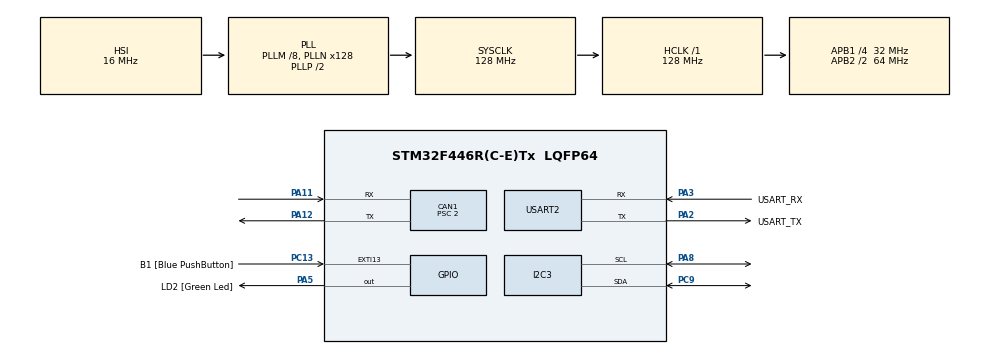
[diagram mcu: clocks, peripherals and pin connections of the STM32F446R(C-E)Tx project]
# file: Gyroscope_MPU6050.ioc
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CAN1.BS1=CAN_BS1_14TQ
CAN1.CalculateBaudRate=1000000
CAN1.CalculateTimeBit=1000
CAN1.CalculateTimeQuantum=62.5
CAN1.Prescaler=2
Mcu.Family=STM32F4
Mcu.Name=STM32F446R(C-E)Tx
Mcu.Package=LQFP64
NVIC.PriorityGroup=NVIC_PRIORITYGROUP_0
PA11.Mode=CAN_Activate
PA11.Signal=CAN1_RX
PA12.Mode=CAN_Activate
PA12.Signal=CAN1_TX
PA13.GPIO_Label=TMS
PA13.Mode=Serial_Wire
PA13.Signal=SYS_JTMS-SWDIO
PA14.GPIO_Label=TCK
PA14.Mode=Serial_Wire
PA14.Signal=SYS_JTCK-SWCLK
PA2.GPIO_Label=USART_TX
PA2.Mode=Asynchronous
PA2.Signal=USART2_TX
PA3.GPIO_Label=USART_RX
PA3.Mode=Asynchronous
PA3.Signal=USART2_RX
PA5.GPIO_Label=LD2 [Green Led]
PA5.Signal=GPIO_Output
PA8.Mode=I2C
PA8.Signal=I2C3_SCL
PB3.GPIO_Label=SWO
PB3.Signal=SYS_JTDO-SWO
PB8.Signal=I2C1_SCL
PB9.Signal=I2C1_SDA
PC13.GPIO_Label=B1 [Blue PushButton]
PC13.GPIO_ModeDefaultEXTI=GPIO_MODE_IT_FALLING
PC13.Signal=GPXTI13
PC14-OSC32_IN.Mode=LSE-External-Oscillator
PC14-OSC32_IN.Signal=RCC_OSC32_IN
PC15-OSC32_OUT.Mode=LSE-External-Oscillator
PC15-OSC32_OUT.Signal=RCC_OSC32_OUT
PC9.Mode=I2C
PC9.Signal=I2C3_SDA
PH0-OSC_IN.Mode=HSE-External-Oscillator
PH0-OSC_IN.Signal=RCC_OSC_IN
PH1-OSC_OUT.Mode=HSE-External-Oscillator
PH1-OSC_OUT.Signal=RCC_OSC_OUT
ProjectManager.HeapSize=0x200
ProjectManager.StackSize=0x400
ProjectManager.TargetToolchain=STM32CubeIDE
RCC.48MHZClocksFreq_Value=84000000
RCC.AHBFreq_Value=128000000
RCC.APB1CLKDivider=RCC_HCLK_DIV4
RCC.APB1Freq_Value=32000000
RCC.APB1TimFreq_Value=64000000
RCC.APB2CLKDivider=RCC_HCLK_DIV2
RCC.APB2Freq_Value=64000000
RCC.APB2TimFreq_Value=128000000
RCC.CortexFreq_Value=128000000
RCC.FLatency-AdvancedSettings=FLASH_LATENCY_4
RCC.HCLKFreq_Value=128000000
RCC.HSE_VALUE=8000000
RCC.HSI_VALUE=16000000
RCC.PLLM=8
RCC.PLLN=128
RCC.SYSCLKFreq_VALUE=128000000
RCC.SYSCLKSource=RCC_SYSCLKSOURCE_PLLCLK
RCC.USBFreq_Value=128000000
RCC.VCOOutputFreq_Value=256000000
TIM12.AutoReloadPreload=TIM_AUTORELOAD_PRELOAD_ENABLE
TIM12.Period=2-1
TIM12.Prescaler=64000-1
USART2.VirtualMode=VM_ASYNC
VP_TIM12_VS_ClockSourceINT.Mode=Internal
board=NUCLEO-F446RE

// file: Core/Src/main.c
/* USER CODE BEGIN Header */
/**
  ******************************************************************************
  * @file           : main.c
  * @brief          : Main program body
  ******************************************************************************
  * @attention
  *
  * Copyright (c) 2024 STMicroelectronics.
  * All rights reserved.
  *
  * This software is licensed under terms that can be found in the LICENSE file
  * in the root directory of this software component.
  * If no LICENSE file comes with this software, it is provided AS-IS.
  *
  ******************************************************************************
  */
/* USER CODE END Header */
#include "main.h"

/* USER CODE BEGIN Includes */
#include "string.h"
#include "stdio.h"
#include "math.h"
#include "stm32f4xx_hal.h"
#include "stm32f4xx.h"
/* USER CODE END Includes */

/* USER CODE BEGIN PD */
#define MPU6050_ADDR 0xD0
#define SMPLRT_DIV_REG 0x19
#define GYRO_CONFIG_REG 0x1B
#define ACCEL_CONFIG_REG 0x1C
#define ACCEL_XOUT_H_REG 0x3B
#define TEMP_OUT_H_REG 0x41
#define GYRO_XOUT_H_REG 0x43
#define PWR_MGMT_1_REG 0x6B
#define WHO_AM_I_REG 0x75
#define BUFFER_SIZE 8
#define CAN1_DEVICE_NUM     4
#define FIRST_GROUP_ID      0x190
#define CAN_DATA_SIZE       8
#define CAN1_RX_ID_START    0x201
/* USER CODE END PD */

CAN_HandleTypeDef hcan1;

I2C_HandleTypeDef hi2c3;

TIM_HandleTypeDef htim12;

UART_HandleTypeDef huart2;

/* USER CODE BEGIN PV */
//int i;
//char buff[500];
uint16_t Accel_X_Raw;
uint16_t Accel_Y_Raw;
uint16_t Accel_Z_Raw;
float Ax;
float Ay;
float Az;
int16_t Gyro_X_Raw;
int16_t Gyro_Y_Raw;
int16_t Gyro_Z_Raw;
float Gx;
float Gy;
float Gz;
//float buffer[8];
uint8_t buffer[BUFFER_SIZE];
int8_t msg1;
int8_t msg2;
int8_t msg3;
//int8_t msg4;
//int8_t msg5;
//int8_t msg6;

/* USER CODE END PV */

void SystemClock_Config(void);
static void MX_GPIO_Init(void);
static void MX_USART2_UART_Init(void);
static void MX_CAN1_Init(void);
static void MX_TIM12_Init(void);
static void MX_I2C3_Init(void);

/* USER CODE BEGIN 0 */
void can_transmit(CAN_HandleTypeDef* hcan, uint16_t id, int8_t msg1){
    CAN_TxHeaderTypeDef tx_header;
    uint8_t             buffer[8];
    uint32_t            pTxMailbox;

    tx_header.StdId = id;
    tx_header.IDE   = CAN_ID_STD;
    tx_header.RTR   = CAN_RTR_DATA;
    tx_header.DLC   = CAN_DATA_SIZE;
    tx_header.TransmitGlobalTime = DISABLE;
    buffer[0] = msg1;

    if (HAL_CAN_AddTxMessage(hcan, &tx_header, buffer, &pTxMailbox) == HAL_OK){
        while (HAL_CAN_IsTxMessagePending(hcan, pTxMailbox));
    }
}

void MPU6050_Init (void)
{
	uint8_t check, Data;
	HAL_I2C_Mem_Read (&hi2c3, MPU6050_ADDR, WHO_AM_I_REG,1,&check,1,1000);

	if( check == 104)
	{
		Data=0;
		HAL_I2C_Mem_Write(&hi2c3, MPU6050_ADDR, PWR_MGMT_1_REG, 1, &Data, 1, 1000);

		Data=0x07;
		HAL_I2C_Mem_Write(&hi2c3, MPU6050_ADDR, SMPLRT_DIV_REG, 1, &Data, 1, 1000);

		Data=0x00;
		HAL_I2C_Mem_Write(&hi2c3, MPU6050_ADDR, ACCEL_CONFIG_REG, 1, &Data, 1, 1000);

		Data=0x00;
		HAL_I2C_Mem_Write(&hi2c3, MPU6050_ADDR, GYRO_CONFIG_REG, 1, &Data, 1, 1000);
	}
}
	void MPU6050_Read_Accel(void)
	{
		uint8_t Rec_Data[6];
		HAL_I2C_Mem_Read(&hi2c3, MPU6050_ADDR, ACCEL_XOUT_H_REG, 1, Rec_Data, 6, 1000);

		Accel_X_Raw=(int16_t)(Rec_Data[0] << 8 | Rec_Data[1]);
		Accel_Y_Raw=(int16_t)(Rec_Data[2] << 8 | Rec_Data[3]);
		Accel_Z_Raw=(int16_t)(Rec_Data[4] << 8 | Rec_Data[5]);
//		can_transmit(&hcan1, 0x191, Rec_Data[0], Rec_Data[1]);
		Ax=Accel_X_Raw/4096.0*50;
		Ay=Accel_Y_Raw/4096.0*50;
		Az=Accel_Z_Raw/4096.0*50;
	}

	void MPU6050_Read_Gyro(void)
	{
		uint8_t Rec_Data[6];
		HAL_I2C_Mem_Read(&hi2c3, MPU6050_ADDR, GYRO_XOUT_H_REG, 1, Rec_Data, 6, 1000);

		Gyro_X_Raw=(int16_t)(Rec_Data[0] << 8 | Rec_Data[1]);
		Gyro_Y_Raw=(int16_t)(Rec_Data[2] << 8 | Rec_Data[3]);
		Gyro_Z_Raw=(int16_t)(Rec_Data[4] << 8 | Rec_Data[5]);

		Gx=Gyro_X_Raw/131.0;
		Gy=Gyro_Y_Raw/131.0;
		Gz=Gyro_Z_Raw/131.0;
	}
	float Accel_X_Angle(float Ax, float Ay, float Az) {
		float angle_deg = (180/3.141592)*(atan(Az/Ax));
	    return angle_deg;
	}
	float Accel_Y_Angle(float Ax, float Ay, float Az) {
		float angle_deg = (180/3.141592)*(atan(Ay/Az));
	    return angle_deg;
	}
//	void HAL_TIM_PeriodElapsedCallback(TIM_HandleTypeDef *htim12) {
//	       can_transmit(&hcan1, 0x190, msg1);
//	        			HAL_TIM_Base_Start_IT(&htim12);
//	        	    }

/* USER CODE END 0 */

int main(void)
{

  /* MCU Configuration--------------------------------------------------------*/

  /* Reset of all peripherals, Initializes the Flash interface and the Systick. */
  HAL_Init();

  /* Configure the system clock */
  SystemClock_Config();

  /* Initialize all configured peripherals */
  MX_GPIO_Init();
  MX_USART2_UART_Init();
  MX_CAN1_Init();
  MX_TIM12_Init();
  MX_I2C3_Init();
  /* USER CODE BEGIN 2 */
  HAL_TIM_Base_Start_IT(&htim12);
  MX_GPIO_Init();
  MPU6050_Init();
//	HAL_UART_Transmit (&huart1, data, sizeof (data), 10);
  /* USER CODE END 2 */

  /* Infinite loop */
  /* USER CODE BEGIN WHILE */
  while (1)
  {
//	  float angle_X = Accel_X_Angle(Ax, Ay, Az);
//	  float angle_Y = Accel_Y_Angle(Ax, Ay, Az);
//	  float angle_Z = Accel_Z_Angle(Ax, Ay, Az);

	  	MPU6050_Read_Accel();
		  	MPU6050_Read_Gyro();
//			rgb=TCS34725_Get_RGBData();
//			RGB888=TCS34725_GetRGB888(rgb);

			float angle_X = Accel_X_Angle(Ax, Ay, Az);
			float angle_Y = Accel_Y_Angle(Ax, Ay, Az);
//			float angle_Z = Accel_Z_Angle(Ax, Ay, Az);

			buffer[0]= angle_X;
			buffer[1]= angle_Y;
//			buffer[2]= angle_Z;

    /* USER CODE END WHILE */

  }
}

void SystemClock_Config(void)
{
  RCC_OscInitTypeDef RCC_OscInitStruct = {0};
  RCC_ClkInitTypeDef RCC_ClkInitStruct = {0};

  /** Configure the main internal regulator output voltage
  */
  __HAL_RCC_PWR_CLK_ENABLE();
  __HAL_PWR_VOLTAGESCALING_CONFIG(PWR_REGULATOR_VOLTAGE_SCALE2);

  /** Initializes the RCC Oscillators according to the specified parameters
  * in the RCC_OscInitTypeDef structure.
  */
  RCC_OscInitStruct.OscillatorType = RCC_OSCILLATORTYPE_HSI;
  RCC_OscInitStruct.HSIState = RCC_HSI_ON;
  RCC_OscInitStruct.HSICalibrationValue = RCC_HSICALIBRATION_DEFAULT;
  RCC_OscInitStruct.PLL.PLLState = RCC_PLL_ON;
  RCC_OscInitStruct.PLL.PLLSource = RCC_PLLSOURCE_HSI;
  RCC_OscInitStruct.PLL.PLLM = 8;
  RCC_OscInitStruct.PLL.PLLN = 128;
  RCC_OscInitStruct.PLL.PLLP = RCC_PLLP_DIV2;
  RCC_OscInitStruct.PLL.PLLQ = 2;
  RCC_OscInitStruct.PLL.PLLR = 2;
  if (HAL_RCC_OscConfig(&RCC_OscInitStruct) != HAL_OK)
  {
    Error_Handler();
  }

  /** Initializes the CPU, AHB and APB buses clocks
  */
  RCC_ClkInitStruct.ClockType = RCC_CLOCKTYPE_HCLK|RCC_CLOCKTYPE_SYSCLK
                              |RCC_CLOCKTYPE_PCLK1|RCC_CLOCKTYPE_PCLK2;
  RCC_ClkInitStruct.SYSCLKSource = RCC_SYSCLKSOURCE_PLLCLK;
  RCC_ClkInitStruct.AHBCLKDivider = RCC_SYSCLK_DIV1;
  RCC_ClkInitStruct.APB1CLKDivider = RCC_HCLK_DIV4;
  RCC_ClkInitStruct.APB2CLKDivider = RCC_HCLK_DIV2;

  if (HAL_RCC_ClockConfig(&RCC_ClkInitStruct, FLASH_LATENCY_4) != HAL_OK)
  {
    Error_Handler();
  }
}

static void MX_CAN1_Init(void)
{

  hcan1.Instance = CAN1;
  hcan1.Init.Prescaler = 2;
  hcan1.Init.Mode = CAN_MODE_NORMAL;
  hcan1.Init.SyncJumpWidth = CAN_SJW_1TQ;
  hcan1.Init.TimeSeg1 = CAN_BS1_14TQ;
  hcan1.Init.TimeSeg2 = CAN_BS2_1TQ;
  hcan1.Init.TimeTriggeredMode = DISABLE;
  hcan1.Init.AutoBusOff = DISABLE;
  hcan1.Init.AutoWakeUp = DISABLE;
  hcan1.Init.AutoRetransmission = DISABLE;
  hcan1.Init.ReceiveFifoLocked = DISABLE;
  hcan1.Init.TransmitFifoPriority = DISABLE;
  if (HAL_CAN_Init(&hcan1) != HAL_OK)
  {
    Error_Handler();
  }

}

static void MX_I2C3_Init(void)
{

  hi2c3.Instance = I2C3;
  hi2c3.Init.ClockSpeed = 100000;
  hi2c3.Init.DutyCycle = I2C_DUTYCYCLE_2;
  hi2c3.Init.OwnAddress1 = 0;
  hi2c3.Init.AddressingMode = I2C_ADDRESSINGMODE_7BIT;
  hi2c3.Init.DualAddressMode = I2C_DUALADDRESS_DISABLE;
  hi2c3.Init.OwnAddress2 = 0;
  hi2c3.Init.GeneralCallMode = I2C_GENERALCALL_DISABLE;
  hi2c3.Init.NoStretchMode = I2C_NOSTRETCH_DISABLE;
  if (HAL_I2C_Init(&hi2c3) != HAL_OK)
  {
    Error_Handler();
  }

}

static void MX_TIM12_Init(void)
{

  TIM_ClockConfigTypeDef sClockSourceConfig = {0};

  htim12.Instance = TIM12;
  htim12.Init.Prescaler = 64000-1;
  htim12.Init.CounterMode = TIM_COUNTERMODE_UP;
  htim12.Init.Period = 2-1;
  htim12.Init.ClockDivision = TIM_CLOCKDIVISION_DIV1;
  htim12.Init.AutoReloadPreload = TIM_AUTORELOAD_PRELOAD_ENABLE;
  if (HAL_TIM_Base_Init(&htim12) != HAL_OK)
  {
    Error_Handler();
  }
  sClockSourceConfig.ClockSource = TIM_CLOCKSOURCE_INTERNAL;
  if (HAL_TIM_ConfigClockSource(&htim12, &sClockSourceConfig) != HAL_OK)
  {
    Error_Handler();
  }

}

static void MX_USART2_UART_Init(void)
{

  huart2.Instance = USART2;
  huart2.Init.BaudRate = 115200;
  huart2.Init.WordLength = UART_WORDLENGTH_8B;
  huart2.Init.StopBits = UART_STOPBITS_1;
  huart2.Init.Parity = UART_PARITY_NONE;
  huart2.Init.Mode = UART_MODE_TX_RX;
  huart2.Init.HwFlowCtl = UART_HWCONTROL_NONE;
  huart2.Init.OverSampling = UART_OVERSAMPLING_16;
  if (HAL_UART_Init(&huart2) != HAL_OK)
  {
    Error_Handler();
  }

}

static void MX_GPIO_Init(void)
{
  GPIO_InitTypeDef GPIO_InitStruct = {0};

  /* GPIO Ports Clock Enable */
  __HAL_RCC_GPIOC_CLK_ENABLE();
  __HAL_RCC_GPIOH_CLK_ENABLE();
  __HAL_RCC_GPIOA_CLK_ENABLE();
  __HAL_RCC_GPIOB_CLK_ENABLE();

  /*Configure GPIO pin Output Level */
  HAL_GPIO_WritePin(LD2_GPIO_Port, LD2_Pin, GPIO_PIN_RESET);

  /*Configure GPIO pin : B1_Pin */
  GPIO_InitStruct.Pin = B1_Pin;
  GPIO_InitStruct.Mode = GPIO_MODE_IT_FALLING;
  GPIO_InitStruct.Pull = GPIO_NOPULL;
  HAL_GPIO_Init(B1_GPIO_Port, &GPIO_InitStruct);

  /*Configure GPIO pin : LD2_Pin */
  GPIO_InitStruct.Pin = LD2_Pin;
  GPIO_InitStruct.Mode = GPIO_MODE_OUTPUT_PP;
  GPIO_InitStruct.Pull = GPIO_NOPULL;
  GPIO_InitStruct.Speed = GPIO_SPEED_FREQ_LOW;
  HAL_GPIO_Init(LD2_GPIO_Port, &GPIO_InitStruct);

  /*Configure GPIO pins : PB8 PB9 */
  GPIO_InitStruct.Pin = GPIO_PIN_8|GPIO_PIN_9;
  GPIO_InitStruct.Mode = GPIO_MODE_AF_OD;
  GPIO_InitStruct.Pull = GPIO_NOPULL;
  GPIO_InitStruct.Speed = GPIO_SPEED_FREQ_VERY_HIGH;
  GPIO_InitStruct.Alternate = GPIO_AF4_I2C1;
  HAL_GPIO_Init(GPIOB, &GPIO_InitStruct);

}

void Error_Handler(void)
{
  __disable_irq();
  while (1)
  {
  }
}
